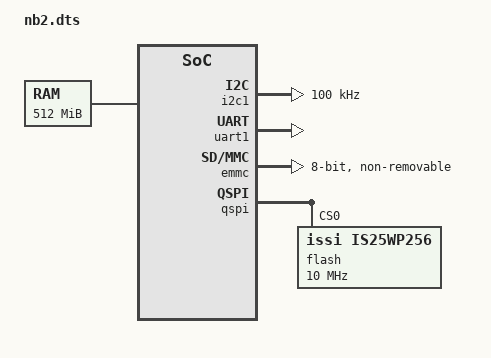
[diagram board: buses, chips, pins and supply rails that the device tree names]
// SPDX-License-Identifier: (GPL-2.0 OR MIT)
/* Copyright (c) 2019-2020 SiFive, Inc */

/dts-v1/;

/* Clock frequency (in Hz) of the PCB crystal for rtcclk */
#define RTCCLK_FREQ		1000000

/ {
	#address-cells = <2>;
	#size-cells = <2>;
	compatible = "sifive,nb2";

	aliases {
		i2c0 = &i2c1;
        };

        chosen {
                bootargs = "root=/dev/ram0 console=ttyS0,9600n8";
                stdout-path = "/soc/serial@20505000:9600n8";
        };


	cpus {
		#address-cells = <1>;
		#size-cells = <0>;
		timebase-frequency = <RTCCLK_FREQ>;
		cpu0: cpu@0 {
			compatible = "sifive,u74", "sifive,bullet0", "riscv";
			d-cache-block-size = <64>;
			d-cache-sets = <64>;
			d-cache-size = <32768>;
			d-tlb-sets = <1>;
			d-tlb-size = <40>;
			device_type = "cpu";
			i-cache-block-size = <64>;
			i-cache-sets = <128>;
			i-cache-size = <32768>;
			i-tlb-sets = <1>;
			i-tlb-size = <40>;
			mmu-type = "riscv,sv39";
			//next-level-cache = <&ccache>;
			reg = <0x0>;
			riscv,isa = "rv64imafdc";
			tlb-split;
			cpu1_intc: interrupt-controller {
				#interrupt-cells = <1>;
				compatible = "riscv,cpu-intc";
				interrupt-controller;
			};
		};
		cpu1: cpu@1 {
			compatible = "sifive,u74", "sifive,bullet0", "riscv";
			d-cache-block-size = <64>;
			d-cache-sets = <64>;
			d-cache-size = <32768>;
			d-tlb-sets = <1>;
			d-tlb-size = <40>;
			device_type = "cpu";
			i-cache-block-size = <64>;
			i-cache-sets = <128>;
			i-cache-size = <32768>;
			i-tlb-sets = <1>;
			i-tlb-size = <40>;
			mmu-type = "riscv,sv39";
			//next-level-cache = <&ccache>;
			reg = <0x1>;
			riscv,isa = "rv64imafdc";
			tlb-split;
			status = "disable";
			cpu2_intc: interrupt-controller {
				#interrupt-cells = <1>;
				compatible = "riscv,cpu-intc";
				interrupt-controller;
			};
		};
		cpu2: cpu@2 {
			compatible = "sifive,u74", "sifive,bullet0", "riscv";
			d-cache-block-size = <64>;
			d-cache-sets = <64>;
			d-cache-size = <32768>;
			d-tlb-sets = <1>;
			d-tlb-size = <40>;
			device_type = "cpu";
			i-cache-block-size = <64>;
			i-cache-sets = <128>;
			i-cache-size = <32768>;
			i-tlb-sets = <1>;
			i-tlb-size = <40>;
			mmu-type = "riscv,sv39";
			//next-level-cache = <&ccache>;
			reg = <0x2>;
			riscv,isa = "rv64imafdc";
			tlb-split;
			status = "disable";
			cpu3_intc: interrupt-controller {
				#interrupt-cells = <1>;
				compatible = "riscv,cpu-intc";
				interrupt-controller;
			};
		};
		cpu3: cpu@3 {
			compatible = "sifive,u74", "sifive,bullet0", "riscv";
			d-cache-block-size = <64>;
			d-cache-sets = <64>;
			d-cache-size = <32768>;
			d-tlb-sets = <1>;
			d-tlb-size = <40>;
			device_type = "cpu";
			i-cache-block-size = <64>;
			i-cache-sets = <128>;
			i-cache-size = <32768>;
			i-tlb-sets = <1>;
			i-tlb-size = <40>;
			mmu-type = "riscv,sv39";
			//next-level-cache = <&ccache>;
			reg = <0x3>;
			riscv,isa = "rv64imafdc";
			tlb-split;
			status = "disable";
			cpu4_intc: interrupt-controller {
				#interrupt-cells = <1>;
				compatible = "riscv,cpu-intc";
				interrupt-controller;
			};
		};
	};

	memory@80000000 {
		device_type = "memory";
		reg = <0x0 0x80000000 0x0 0x20000000>;
	};

	hfclk: hfclk {
                #clock-cells = <0>;
                compatible = "fixed-clock";
                clock-frequency = <10000000>;
        };

	soc {
		#address-cells = <2>;
		#size-cells = <2>;
		compatible = "sifive,nb2", "simple-bus";
		ranges;

                plic0: interrupt-controller@c000000 {
                        #interrupt-cells = <1>;
                        compatible = "sifive,plic-1.0.0";
                        reg = <0x0 0xc000000 0x0 0x4000000>;
                        riscv,ndev = <131>;
                        interrupt-controller;
                        interrupts-extended = < 
                                &cpu1_intc 11 &cpu1_intc 9>;
                };
		sram: sram@40200000 {
			compatible = "mmio-sram";
			reg = <0x0 0x40200000 0x1F 0xFFFF>;
		};
		gpio: gpio@20006000 {
			compatible = "snps,dw-apb-gpio";
			reg = <0x0 0x20006000 0x0 0x00FF>;
			#address-cells = <1>;
			#size-cells = <0>;
			porta: gpio-controller@0 {
				compatible = "snps,dw-apb-gpio-port";
				gpio-controller;
				interrupt-parent = <&plic0>;
				interrupts = <79>;
				#gpio-cells = <2>;
				snps,nr-gpios = <16>;
				reg = <0>;
			};
		};
                i2c1: i2c@20508000 {
			compatible = "snps,designware-i2c";
			reg = <0x0 0x20508000 0x0 0x00FF>;
			interrupt-parent = <&plic0>;
			interrupts = <60>;
			clock-frequency = <100000>;
			clocks = <&hfclk>;
                };
                i2c2: i2c@20509000 {
			compatible = "snps,designware-i2c";
			reg = <0x0 0x20509000 0x0 0x00FF>;
			interrupt-parent = <&plic0>;
			interrupts = <61>;
			clock-frequency = <100000>;
			clocks = <&hfclk>;
			status = "disable";
                };
                i2c3: i2c@2050A000 {
			compatible = "snps,designware-i2c";
			reg = <0x0 0x2050A000 0x0 0x00FF>;
			interrupt-parent = <&plic0>;
			interrupts = <62>;
			clock-frequency = <100000>;
			clocks = <&hfclk>;
			status = "disable";
		};
		spi0: spi@20500000 {
			compatile = "cdns,spi-r1p6";
			reg = <0x0 0x20500000 0x0 0x00FF>;
			interrupt-parent = <&plic0>;
			interrupts = <47>;
			clocks = <&hfclk>;
			//clock-names = "ref_clk", "pclk";
			//clocks = <&clkc 26>, <&clkc 35>;
			//interrupt-parent = <&intc>;
			//interrupts = <0 49 4>; 
			//num-cs = <4>;
			//is-decoded-cs = <0>;
		};
                spi1: spi@20501000 {
                        compatile = "cdns,spi-r1p6";
                        reg = <0x0 0x20501000 0x0 0x00FF>;
			status = "disable";
                        //clock-names = "ref_clk", "pclk";
                        //clocks = <&clkc 26>, <&clkc 35>;
                        //interrupt-parent = <&intc>;
                        //interrupts = <0 49 4>; 
                        //num-cs = <4>;
                        //is-decoded-cs = <0>;
                };
                spi2: spi@00502000 {
                        compatile = "cdns,spi-r1p6";
                        reg = <0x0 0x20502000 0x0 0x00FF>;
			status = "disable";
                        //clock-names = "ref_clk", "pclk";
                        //clocks = <&clkc 26>, <&clkc 35>;
                        //interrupt-parent = <&intc>;
                        //interrupts = <0 49 4>; 
                        //num-cs = <4>;
                        //is-decoded-cs = <0>;
                };
                spi3: spi@20503000 {
                        compatile = "cdns,spi-r1p6";
                        reg = <0x0 0x20503000 0x0 0x00FF>;
			status = "disable";
                        //clock-names = "ref_clk", "pclk";
                        //clocks = <&clkc 26>, <&clkc 35>;
                        //interrupt-parent = <&intc>;
                        //interrupts = <0 49 4>; 
                        //num-cs = <4>;
                        //is-decoded-cs = <0>;
                };
                uart1: serial@20505000 {
			compatible = "snps,dw-apb-uart";
			reg = <0x0 0x20505000 0x0 0x00FF>;
			clock-frequency = <10000000>;
			reg-shift = <2>;
			reg-io-width = <4>;
			interrupt-parent = <&plic0>;
			interrupts = <54>;
			clocks = <&hfclk>;
                };
                uart2: serial@20506000 {
                        compatible = "snps,dw-apb-uart";
                        reg = <0x0 0x20506000 0x0 0x00FF>;
			status = "disable";
                        //interrupt-parent = <&plic0>;
                        //interrupts = <4>;
                        //clocks = <&prci PRCI_CLK_TLCLK>;
                };
                uart3: serial@20507000 {
                        compatible = "snps,dw-apb-uart";
                        reg = <0x0 0x20507000 0x0 0x00FF>;
			status = "disable";
                        //interrupt-parent = <&plic0>;
                        //interrupts = <4>;
                        //clocks = <&prci PRCI_CLK_TLCLK>;
		};
	        watchdog0: watchdog@2050E000 {
		        compatible = "snps,dw-wdt";
			reg = <0x0 0x2050E000 0x0 0x00FF>;
			clocks = <&hfclk>;
			//interrupts = <0 171 4>; 
		};
		emmc: sdhci@21009000 {
			compatible = "cdns,sd4hc";
			reg = <0x0 0x21009000 0x0 0x0FFF>;
			interrupt-parent = <&plic0>;
			interrupts = <18>;
			clocks = <&hfclk>;
			bus-width = <8>;
			non-removable;
			mmc-hs400-1_8v;
		};
		rtc: rtc@20007000 {
			compatible = "snps,dw-apb-rtc";
			reg = <0x0 0x20007000 0x0 0x007F>;
			interrupt-parent = <&plic0>;
			interrupts = <63>;
		};
		qspi: spi@20400000 {
			compatible = "open-silicon,qspi0";
			reg = <0x0 0x20400000 0x0 0x00000FFF>,
			      <0x0 0x20000000 0x0 0x003FFFFF>;
			reg-names = "qspi", "qspi_mm";
			interrupt-parent = <&plic0>;
			interrupts = <52>;
			clocks = <&hfclk>;
			#address-cells = <1>;
			#size-cells = <0>;
			status = "okay";

			flash@0 {
				compatible = "issi,is25wp256", "jedec,spi-nor";
				reg = <0>;
				spi-max-frequency = <10000000>;
				m25p,fast-read;
				spi-tx-bus-width = <4>;
				spi-rx-bus-width = <4>;
			};
		};
	};

};
